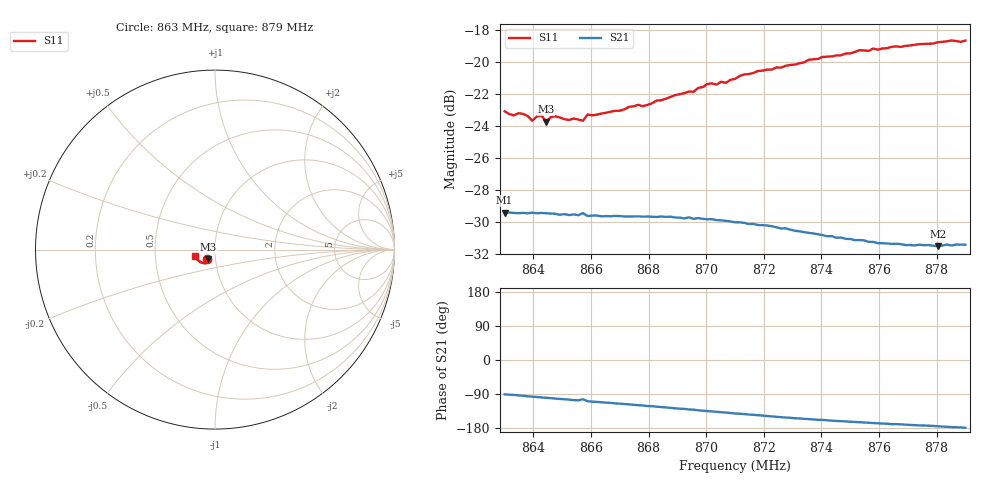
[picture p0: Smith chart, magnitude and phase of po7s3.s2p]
# HZ S RI R 50
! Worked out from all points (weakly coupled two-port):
!   101 points, 863 MHz to 879 MHz, reference 50 ohm
!   highest |S21| = -29.41 dB at 863 MHz (marker M1); lowest = -31.5 dB at 878.04 MHz (marker M2)
!   lowest |S11| = -23.7 dB at 864.44 MHz (marker M3), VSWR 1.14, Z = 46.2 - j4.97 ohm
!   |S11| at or under -10 dB: start of sweep to end of sweep
!   S12 and S22 are empty: the file has one direction only
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8.63e8  -0.0438 -0.0546  -0.000413 -0.0338  0 0  0 0
8.6332e8  -0.0424 -0.0532  -0.0013 -0.0337  0 0  0 0
8.6364e8  -0.0421 -0.0544  -0.00248 -0.0337  0 0  0 0
8.6396e8  -0.0383 -0.0531  -0.00394 -0.0336  0 0  0 0
8.6428e8  -0.0388 -0.0557  -0.00519 -0.0333  0 0  0 0
8.6444e8  -0.0368 -0.0536  -0.00564 -0.0332  0 0  0 0
8.6476e8  -0.0386 -0.0555  -0.0069 -0.0328  0 0  0 0
8.6556e8  -0.0353 -0.0558  -0.00942 -0.0318  0 0  0 0
8.6572e8  -0.0294 -0.0585  -0.0079 -0.0328  0 0  0 0
8.6588e8  -0.0353 -0.0586  -0.0106 -0.0313  0 0  0 0
8.67e8  -0.0347 -0.0611  -0.014 -0.0298  0 0  0 0
8.6844e8  -0.0364 -0.0666  -0.0185 -0.0272  0 0  0 0
8.6956e8  -0.0406 -0.0696  -0.0213 -0.0243  0 0  0 0
8.7004e8  -0.0437 -0.0731  -0.0227 -0.0229  0 0  0 0
8.7068e8  -0.0455 -0.0728  -0.0239 -0.021  0 0  0 0
8.71e8  -0.0492 -0.0734  -0.0245 -0.0198  0 0  0 0
8.718e8  -0.0556 -0.0753  -0.0256 -0.0174  0 0  0 0
8.7372e8  -0.0692 -0.0745  -0.0268 -0.0114  0 0  0 0
8.7532e8  -0.0843 -0.0685  -0.0267 -0.00758  0 0  0 0
8.7644e8  -0.0932 -0.0608  -0.0265 -0.00499  0 0  0 0
8.7804e8  -0.1046 -0.0479  -0.0265 -0.00235  0 0  0 0
8.79e8  -0.11 -0.0382  -0.0268 -0.000565  0 0  0 0
